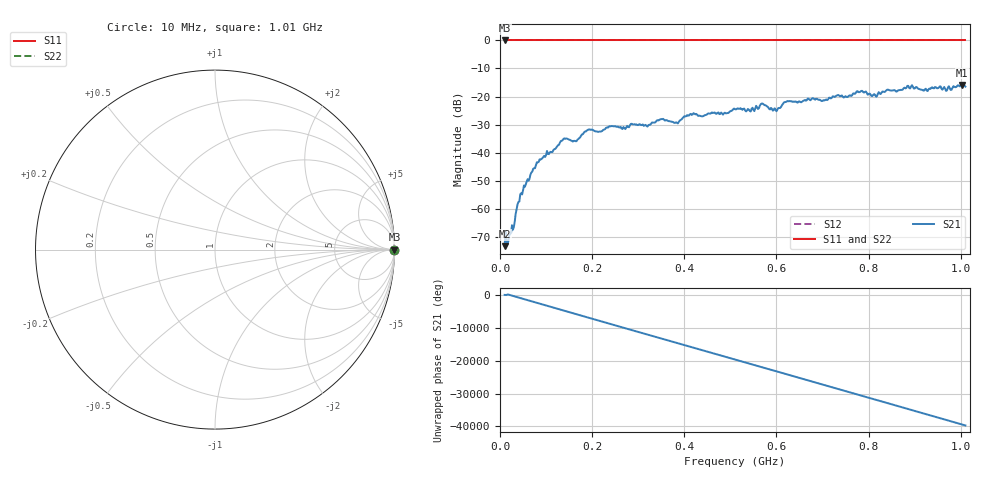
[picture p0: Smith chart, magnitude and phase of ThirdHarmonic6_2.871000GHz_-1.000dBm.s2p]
! 8/17/2025 7:50:54 AM
! C:\ANRITSUVNA\TEMP\TEMP.S2P
! CHANNEL.1
! TR.MEASUREMENT
! RAW.DATA
! RF.CORRECTION.OFF
! AVERAGING.OFF
! IF.BANDWIDTH: 5KHZ
! SWEEPTYPE:  FREQ.SWEEP(Linear)
! Reference Plane Port Info
! PORT:  PORT1  PORT2
! DISTANCE:  0  m  0  m
! TIME:  0  s  0  s
! PHASE.OFFSET:  0  deg.  0  deg.
! LOSS:  0  dB  0  dB
! REF.LOSS:  0  dB  0  dB
! REF.FREQ:  0  Hz  0  Hz
! Power Info
! POWER:  -20  dBm  -20  dBm
! EFF.POWER:  -20  dBm  -20  dBm
! SOURCE.ATTEN:  0  dB  0  dB
! TEST.ATTEN:  0  dB  0  dB
# GHZ S RI R 50.0
! FREQ.GHZ  S11RE  S11IM  S21RE  S21IM  S12RE  S12IM  S22RE  S22IM
!; PortSelection: Port_12
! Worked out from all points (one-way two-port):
!   501 points, 10 MHz to 1.01 GHz, reference 50 ohm
!   highest |S21| = -15.89 dB at 1.002 GHz (marker M1); lowest = -73.4 dB at 10 MHz (marker M2)
!   lowest |S11| = 0.0 dB at 10 MHz (marker M3)
!   |S11| at or under -10 dB: nowhere
!   |S22| runs from 0.0 to 0.0 dB; largest |S21 - S12| = 1.2
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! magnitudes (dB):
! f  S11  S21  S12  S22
! 10 MHz  0.0  -73.4  0.0  0.0
! 20 MHz  0.0  -69.5  0.0  0.0
! 28 MHz  0.0  -67.5  0.0  0.0
! 48 MHz  0.0  -54.9  0.0  0.0
! 82 MHz  0.0  -43.5  0.0  0.0
! 136 MHz  0.0  -35.6  0.0  0.0
! 162 MHz  0.0  -35.8  0.0  0.0
! 178 MHz  0.0  -33.5  0.0  0.0
! 194 MHz  0.0  -31.8  0.0  0.0
! 322 MHz  0.0  -30.2  0.0  0.0
! 344 MHz  0.0  -28.5  0.0  0.0
! 382 MHz  0.0  -29.2  0.0  0.0
! 416 MHz  0.0  -26.6  0.0  0.0
! 510 MHz  0.0  -24.5  0.0  0.0
! 548 MHz  0.0  -24.0  0.0  0.0
! 570 MHz  0.0  -22.5  0.0  0.0
! 596 MHz  0.0  -24.2  0.0  0.0
! 620 MHz  0.0  -22.0  0.0  0.0
! 678 MHz  0.0  -20.6  0.0  0.0
! 844 MHz  0.0  -17.7  0.0  0.0
! 1.002 GHz  0.0  -15.9  0.0  0.0
! 1.01 GHz  0.0  -16.5  0.0  0.0
